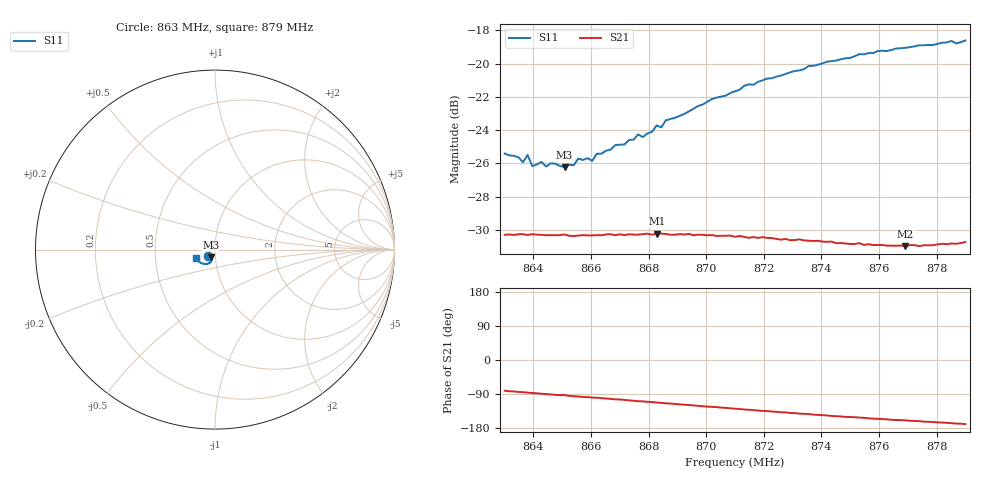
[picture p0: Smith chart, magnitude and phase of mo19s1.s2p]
# HZ S RI R 50
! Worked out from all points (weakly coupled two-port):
!   101 points, 863 MHz to 879 MHz, reference 50 ohm
!   highest |S21| = -30.21 dB at 868.28 MHz (marker M1); lowest = -31.0 dB at 876.92 MHz (marker M2)
!   lowest |S11| = -26.2 dB at 865.08 MHz (marker M3), VSWR 1.10, Z = 47.5 - j4.06 ohm
!   |S11| at or under -10 dB: start of sweep to end of sweep
!   S12 and S22 are empty: the file has one direction only
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8.63e8  -0.038 -0.0379  0.00469 -0.0302  0 0  0 0
8.6364e8  -0.0334 -0.0379  0.00274 -0.0306  0 0  0 0
8.638e8  -0.0338 -0.041  0.00209 -0.0305  0 0  0 0
8.6396e8  -0.0294 -0.0395  0.00147 -0.0307  0 0  0 0
8.6428e8  -0.0287 -0.0418  0.00046 -0.0306  0 0  0 0
8.6444e8  -0.0286 -0.0399  9e-06 -0.0305  0 0  0 0
8.646e8  -0.0282 -0.0415  -0.00044 -0.0305  0 0  0 0
8.6508e8  -0.0239 -0.0426  -0.00135 -0.0306  0 0  0 0
8.6572e8  -0.0226 -0.0461  -0.00404 -0.0303  0 0  0 0
8.6604e8  -0.0208 -0.0466  -0.00488 -0.0301  0 0  0 0
8.662e8  -0.0221 -0.0488  -0.00504 -0.0301  0 0  0 0
8.6716e8  -0.0192 -0.0538  -0.00808 -0.0294  0 0  0 0
8.6764e8  -0.0206 -0.0577  -0.00982 -0.029  0 0  0 0
8.678e8  -0.0185 -0.0572  -0.0101 -0.029  0 0  0 0
8.6828e8  -0.0203 -0.062  -0.0117 -0.0286  0 0  0 0
8.6844e8  -0.0205 -0.061  -0.0121 -0.0284  0 0  0 0
8.686e8  -0.0212 -0.0642  -0.0127 -0.0281  0 0  0 0
8.71e8  -0.0334 -0.0755  -0.0188 -0.0236  0 0  0 0
8.7372e8  -0.0562 -0.0809  -0.0237 -0.0172  0 0  0 0
8.7644e8  -0.0841 -0.0709  -0.0263 -0.0108  0 0  0 0
8.7692e8  -0.089 -0.0672  -0.0265 -0.00994  0 0  0 0
8.79e8  -0.1067 -0.0489  -0.0286 -0.00539  0 0  0 0
